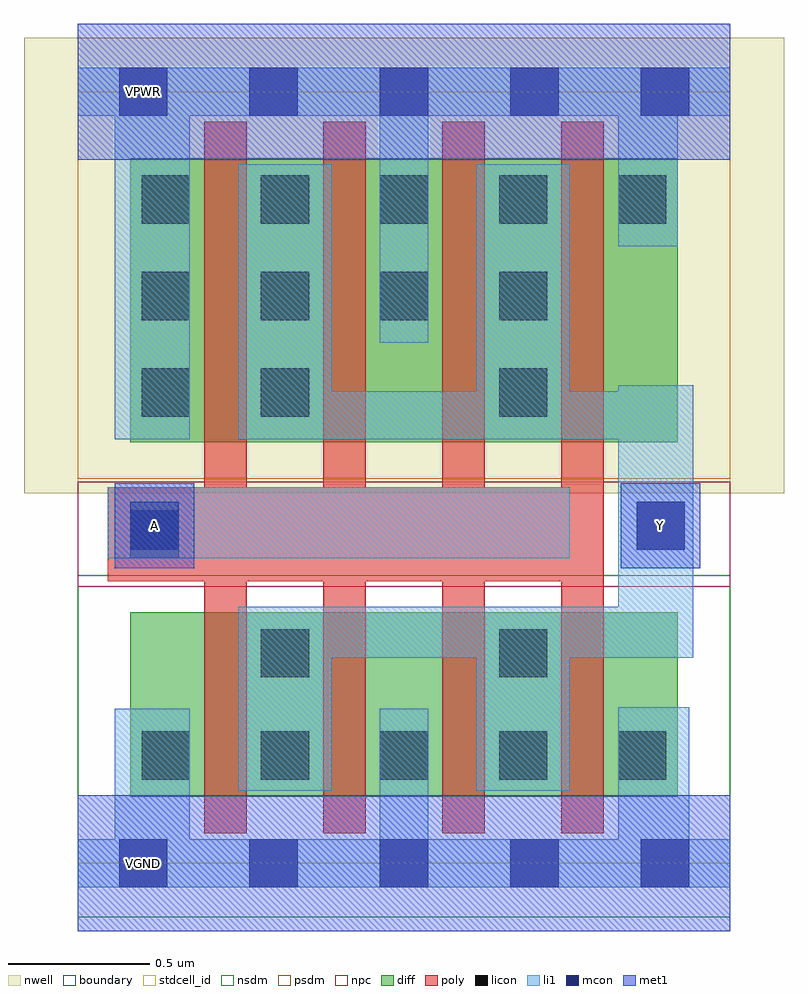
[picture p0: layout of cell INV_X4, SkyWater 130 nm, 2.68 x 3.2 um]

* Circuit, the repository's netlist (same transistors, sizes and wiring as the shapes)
.subckt INV_X4 A Y VPWR VGND VNB
M0 Y A VPWR nwell_i sky130_fd_pr__pfet_01v8 L=0.15u W=4.0u
M1 Y A VGND VNB sky130_fd_pr__nfet_01v8 L=0.15u W=2.6u
.ends

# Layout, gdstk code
import gdstk
lib = gdstk.Library(unit=1e-6, precision=1e-09)
def R(c, l, rs):  # rectangles x0, y0, x1, y1
    for r in rs: c.add(gdstk.rectangle(r[:2], r[2:], *l))
def A(c, l, x, y, w, h, nx, ny, dx, dy):  # array of equal rectangles
    R(c, l, [(x+i*dx, y+j*dy, x+i*dx+w, y+j*dy+h) for i in range(nx) for j in range(ny)])
nwell = (64, 20)
diff = (65, 20)
poly = (66, 20)
licon = (66, 44)
li1 = (67, 20)
mcon = (67, 44)
met1 = (68, 20)
stdcell_id = (81, 4)
nsdm = (93, 44)
psdm = (94, 20)
npc = (95, 20)
boundary = (235, 4)

inv_x4 = lib.new_cell('INV_X4')
R(inv_x4, nwell, [(-0.19,1.305,2.49,2.91)])
R(inv_x4, diff, [(0.185,0.235,2.115,0.885), (0.185,1.485,2.115,2.485)])
A(inv_x4, poly, 0.445, 0.105, 0.15, 2.51, 4, 1, 0.42, 0)
R(inv_x4, poly, [(0.105,0.995,1.855,1.325)])
A(inv_x4, licon, 0.225, 0.295, 0.17, 0.17, 5, 2, 0.42, 1.96)
A(inv_x4, licon, 0.225, 1.915, 0.17, 0.17, 4, 1, 0.42, 0)
R(inv_x4, licon, [(0.645,0.655,0.815,0.825), (1.485,0.655,1.655,0.825), (0.185,1.075,0.355,1.245), (0.225,1.575,0.395,1.745), (0.645,1.575,0.815,1.745), (1.485,1.575,1.655,1.745)])
R(inv_x4, li1, [(0,-0.085,2.3,0.085), (0.13,0.085,0.395,0.545), (1.065,0.085,1.235,0.545), (1.905,0.085,2.155,0.55), (0.565,0.255,0.895,0.905), (1.405,0.255,1.735,0.905), (0.565,0.725,1.905,0.905), (1.905,0.725,2.17,1.685), (0.105,1.075,1.735,1.325), (0.13,1.495,0.395,2.635), (0.565,1.495,2.17,1.665), (0.565,1.495,0.895,2.465), (1.405,1.495,1.735,2.465), (1.065,1.835,1.235,2.635), (1.905,2.175,2.115,2.635), (0,2.635,2.3,2.805)])
A(inv_x4, mcon, 0.145, -0.085, 0.17, 0.17, 5, 2, 0.46, 2.72)
R(inv_x4, mcon, [(0.185,1.105,0.355,1.275), (1.97,1.105,2.14,1.275)])
R(inv_x4, met1, [(0,-0.24,2.3,0.24), (0.13,1.04,0.41,1.34), (1.915,1.04,2.195,1.34), (0,2.48,2.3,2.96)])
R(inv_x4, stdcell_id, [(0,0,2.3,2.72)])
R(inv_x4, nsdm, [(0,-0.19,2.3,1.015)])
R(inv_x4, psdm, [(0,1.355,2.3,2.91)])
R(inv_x4, npc, [(0,0.975,2.3,1.345)])
R(inv_x4, boundary, [(0,0,2.3,2.72)])
inv_x4.add(gdstk.Label('A', (0.27,1.19), layer=68, texttype=5))
inv_x4.add(gdstk.Label('Y', (2.055,1.19), layer=68, texttype=5))
inv_x4.add(gdstk.Label('VPWR', (0.23,2.72), layer=68, texttype=5))
inv_x4.add(gdstk.Label('VGND', (0.23,0), layer=68, texttype=5))

lib.write_gds('INV_X4.gds')
